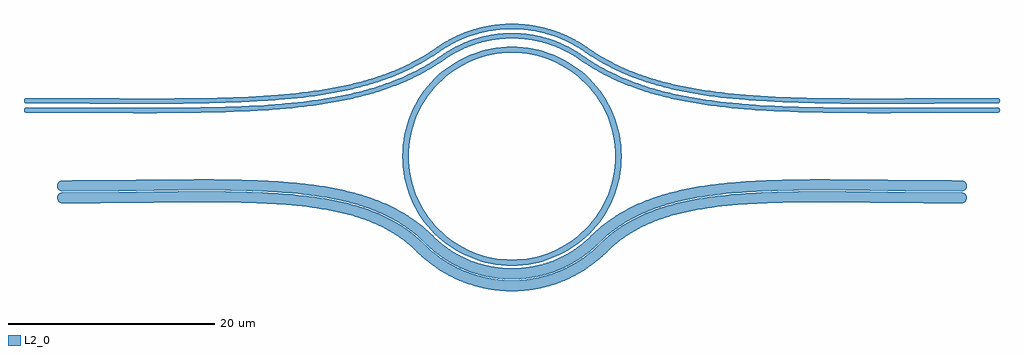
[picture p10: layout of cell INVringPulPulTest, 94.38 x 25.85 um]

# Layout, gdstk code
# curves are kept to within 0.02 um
import gdstk
lib = gdstk.Library(unit=1e-6, precision=1e-09)
def P(c, l, *ps):  # polygons
    for p in ps: c.add(gdstk.Polygon(p, *l))
L2_0 = (2, 0)

invringpulpultest = lib.new_cell('INVringPulPulTest')
P(invringpulpultest, L2_0, [(10,-30.6),(8.961,-30.549),(7.932,-30.396),(6.923,-30.144),(5.944,-29.793),(5.003,-29.348),(4.111,-28.814),(3.275,-28.194),(2.505,-27.495),(1.806,-26.725),(1.186,-25.889),(0.652,-24.997),(0.207,-24.056),(-0.144,-23.077),(-0.396,-22.068),(-0.549,-21.039),(-0.6,-20),(-0.549,-18.961),(-0.396,-17.932),(-0.144,-16.923),(0.207,-15.944),(0.652,-15.003),(1.186,-14.111),(1.806,-13.275),(2.505,-12.505),(3.275,-11.806),(4.111,-11.186),(5.003,-10.652),(5.944,-10.207),(6.923,-9.856),(7.932,-9.604),(8.961,-9.451),(10,-9.4),(11.039,-9.451),(12.068,-9.604),(13.077,-9.856),(14.056,-10.207),(14.997,-10.652),(15.889,-11.186),(16.725,-11.806),(17.495,-12.505),(18.194,-13.275),(18.814,-14.111),(19.348,-15.003),(19.793,-15.944),(20.144,-16.923),(20.396,-17.932),(20.549,-18.961),(20.6,-20),(20,-20),(19.988,-19.509),(19.892,-18.533),(19.808,-18.049),(19.569,-17.097),(19.239,-16.173),(19.04,-15.724),(18.577,-14.859),(18.032,-14.043),(17.41,-13.284),(16.716,-12.59),(16.344,-12.27),(15.556,-11.685),(15.141,-11.423),(14.276,-10.96),(13.827,-10.761),(12.903,-10.431),(12.43,-10.3),(11.951,-10.192),(10.98,-10.048),(10.491,-10.012),(9.509,-10.012),(8.533,-10.108),(8.049,-10.192),(7.097,-10.431),(6.631,-10.585),(6.173,-10.761),(5.286,-11.181),(4.444,-11.685),(4.043,-11.968),(3.284,-12.59),(2.929,-12.929),(2.59,-13.284),(1.968,-14.043),(1.423,-14.859),(0.96,-15.724),(0.761,-16.173),(0.431,-17.097),(0.192,-18.049),(0.108,-18.533),(0.012,-19.509),(0.012,-20.491),(0.048,-20.98),(0.192,-21.951),(0.431,-22.903),(0.761,-23.827),(0.96,-24.276),(1.181,-24.714),(1.685,-25.556),(2.27,-26.344),(2.59,-26.716),(3.284,-27.41),(4.043,-28.032),(4.444,-28.315),(5.286,-28.819),(6.173,-29.239),(7.097,-29.569),(7.57,-29.7),(8.533,-29.892),(9.509,-29.988),(10.491,-29.988),(10.98,-29.952),(11.951,-29.808),(12.903,-29.569),(13.369,-29.415),(14.276,-29.04),(14.714,-28.819),(15.556,-28.315),(15.957,-28.032),(16.716,-27.41),(17.41,-26.716),(18.032,-25.957),(18.577,-25.141),(19.04,-24.276),(19.239,-23.827),(19.569,-22.903),(19.7,-22.43),(19.892,-21.467),(19.952,-20.98),(20,-20),(20.6,-20),(20.549,-21.039),(20.396,-22.068),(20.144,-23.077),(19.793,-24.056),(19.348,-24.997),(18.814,-25.889),(18.194,-26.725),(17.495,-27.495),(16.725,-28.194),(15.889,-28.814),(14.997,-29.348),(14.056,-29.793),(13.077,-30.144),(12.068,-30.396),(11.039,-30.549)],
  [(-25.275,-15.823),(-36.94,-15.788),(-36.94,-15.288),(-24.368,-15.323),(-20.926,-15.299),(-17.696,-15.231),(-14.666,-15.102),(-12.52,-14.955),(-10.152,-14.721),(-8.187,-14.451),(-6.318,-14.113),(-4.539,-13.701),(-2.846,-13.206),(-1.46,-12.712),(-0.131,-12.147),(0.935,-11.619),(2.168,-10.915),(3.583,-9.978),(4.268,-9.571),(5.083,-9.163),(6.034,-8.78),(6.959,-8.495),(7.96,-8.276),(8.919,-8.149),(9.943,-8.1),(10.967,-8.139),(11.928,-8.257),(13.041,-8.495),(13.966,-8.78),(14.917,-9.163),(15.732,-9.571),(16.417,-9.978),(17.832,-10.915),(19.065,-11.619),(20.131,-12.147),(21.46,-12.712),(22.846,-13.206),(24.539,-13.701),(26.318,-14.113),(28.187,-14.451),(30.152,-14.721),(32.52,-14.955),(34.666,-15.102),(37.696,-15.231),(40.926,-15.299),(44.368,-15.323),(56.94,-15.288),(56.94,-15.788),(46.621,-15.822),(41.764,-15.808),(37.677,-15.731),(34.635,-15.601),(31.262,-15.344),(28.644,-15.026),(26.72,-14.702),(25.144,-14.365),(23.633,-13.97),(22.185,-13.51),(20.569,-12.888),(19.03,-12.165),(17.768,-11.461),(15.634,-10.089),(15.007,-9.758),(14.259,-9.425),(13.176,-9.051),(12.169,-8.808),(11.09,-8.652),(9.945,-8.6),(9.019,-8.642),(7.992,-8.778),(6.981,-9.007),(6.046,-9.308),(5.339,-9.596),(4.605,-9.957),(3.991,-10.312),(2.845,-11.078),(1.817,-11.705),(0.755,-12.275),(-0.569,-12.888),(-1.715,-13.342),(-3.143,-13.824),(-4.633,-14.24),(-6.187,-14.596),(-7.808,-14.896),(-9.787,-15.18),(-11.866,-15.401),(-13.905,-15.557),(-16.131,-15.674),(-18.468,-15.753),(-21.764,-15.808)],
  [(-25.252,-14.924),(-36.94,-14.888),(-36.94,-14.388),(-23.478,-14.421),(-17.73,-14.332),(-14.723,-14.204),(-12.593,-14.058),(-10.281,-13.83),(-8.365,-13.569),(-6.544,-13.243),(-4.813,-12.844),(-3.168,-12.366),(-1.602,-11.801),(-0.321,-11.243),(0.908,-10.611),(1.893,-10.025),(3.253,-9.122),(3.997,-8.695),(4.879,-8.269),(5.676,-7.952),(6.669,-7.641),(7.745,-7.4),(8.899,-7.247),(9.939,-7.2),(11.04,-7.242),(12.013,-7.359),(13.093,-7.579),(14.035,-7.852),(14.952,-8.197),(15.895,-8.638),(16.747,-9.122),(18.107,-10.025),(19.092,-10.611),(20.321,-11.243),(21.821,-11.888),(23.398,-12.44),(25.055,-12.906),(26.799,-13.294),(28.633,-13.61),(30.847,-13.894),(32.941,-14.086),(35.457,-14.243),(38.513,-14.354),(44.352,-14.423),(56.94,-14.388),(56.94,-14.888),(41.768,-14.909),(37.711,-14.832),(34.692,-14.703),(31.363,-14.45),(28.809,-14.141),(26.933,-13.828),(24.901,-13.382),(23.216,-12.906),(21.613,-12.343),(20.301,-11.785),(19.248,-11.264),(18.032,-10.568),(16.682,-9.673),(15.976,-9.249),(15.029,-8.775),(14.1,-8.403),(13.03,-8.079),(11.993,-7.862),(10.941,-7.736),(9.941,-7.7),(8.824,-7.756),(7.833,-7.892),(6.743,-8.139),(5.734,-8.463),(4.918,-8.799),(4.127,-9.192),(3.517,-9.547),(2.166,-10.444),(1.366,-10.926),(0.335,-11.479),(-0.732,-11.979),(-2.063,-12.513),(-3.452,-12.979),(-4.901,-13.382),(-6.414,-13.725),(-8.263,-14.058),(-10.208,-14.325),(-11.953,-14.505),(-13.967,-14.659),(-16.177,-14.776),(-18.497,-14.854),(-21.768,-14.909)],
  [(56.94,-14.888),(56.94,-14.388),(57.038,-14.408),(57.117,-14.461),(57.171,-14.541),(57.19,-14.638),(57.171,-14.736),(57.117,-14.815),(57.038,-14.869)],
  [(-36.94,-14.888),(-37.038,-14.869),(-37.117,-14.815),(-37.171,-14.736),(-37.19,-14.638),(-37.171,-14.541),(-37.117,-14.461),(-37.038,-14.408),(-36.94,-14.388)],
  [(56.94,-15.788),(56.94,-15.288),(57.038,-15.308),(57.117,-15.361),(57.171,-15.441),(57.19,-15.538),(57.171,-15.636),(57.117,-15.715),(57.038,-15.769)],
  [(-36.94,-15.788),(-37.038,-15.769),(-37.117,-15.715),(-37.171,-15.636),(-37.19,-15.538),(-37.171,-15.441),(-37.117,-15.361),(-37.038,-15.308),(-36.94,-15.288)],
  [(53.45,-24.55),(53.45,-23.5),(53.654,-23.541),(53.821,-23.654),(53.934,-23.821),(53.975,-24.025),(53.934,-24.229),(53.821,-24.396),(53.654,-24.509)],
  [(10,-33.05),(8.638,-32.979),(7.291,-32.766),(6.05,-32.438),(5.293,-32.172),(4.627,-31.893),(3.485,-31.307),(2.406,-30.613),(1.46,-29.868),(0.351,-28.826),(-0.387,-28.207),(-1.169,-27.65),(-1.996,-27.15),(-3.231,-26.541),(-4.361,-26.098),(-5.56,-25.721),(-7.046,-25.358),(-8.86,-25.034),(-10.802,-24.795),(-13.227,-24.605),(-15.692,-24.5),(-20.713,-24.448),(-33.45,-24.55),(-33.654,-24.509),(-33.855,-24.359),(-33.964,-24.131),(-33.964,-23.919),(-33.912,-23.775),(-33.784,-23.62),(-33.654,-23.541),(-33.45,-23.5),(-33.45,-24.55),(-33.45,-23.5),(-21.477,-23.402),(-18.29,-23.404),(-15.135,-23.468),(-12.203,-23.62),(-9.892,-23.839),(-7.669,-24.17),(-6.052,-24.512),(-4.532,-24.939),(-3.108,-25.458),(-1.777,-26.078),(-0.711,-26.697),(0.287,-27.402),(1.068,-28.059),(2.092,-29.026),(3.077,-29.802),(4.138,-30.471),(5.194,-30.996),(6.298,-31.415),(7.581,-31.754),(8.821,-31.942),(10.074,-32),(11.326,-31.927),(12.491,-31.739),(13.702,-31.415),(14.94,-30.936),(15.991,-30.398),(16.923,-29.802),(17.908,-29.026),(18.932,-28.059),(19.713,-27.402),(20.711,-26.697),(21.595,-26.176),(22.912,-25.54),(24.115,-25.077),(25.608,-24.625),(27.197,-24.259),(29.133,-23.936),(31.198,-23.702),(33.156,-23.558),(35.645,-23.452),(38.29,-23.404),(40.709,-23.399),(53.45,-23.5),(53.45,-24.55),(40.713,-24.448),(37.774,-24.459),(35.187,-24.516),(32.752,-24.634),(30.802,-24.795),(28.86,-25.034),(26.828,-25.405),(25.356,-25.779),(24.168,-26.167),(23.049,-26.622),(21.827,-27.245),(21.009,-27.757),(20.236,-28.326),(19.649,-28.826),(18.54,-29.868),(17.594,-30.613),(16.515,-31.307),(15.373,-31.893),(14.707,-32.172),(13.95,-32.438),(12.709,-32.766),(11.362,-32.979)],
  [(53.45,-23.4),(53.45,-22.35),(53.654,-22.391),(53.821,-22.504),(53.934,-22.671),(53.975,-22.875),(53.934,-23.079),(53.821,-23.246),(53.654,-23.359)],
  [(10,-31.9),(8.758,-31.835),(7.53,-31.641),(6.329,-31.32),(5.101,-30.845),(4.059,-30.311),(3.075,-29.678),(2.268,-29.046),(1.122,-27.973),(0.337,-27.314),(-0.494,-26.719),(-1.553,-26.085),(-2.876,-25.447),(-4.084,-24.983),(-5.362,-24.588),(-6.943,-24.21),(-8.868,-23.873),(-10.659,-23.654),(-13.149,-23.458),(-15.641,-23.352),(-20.708,-23.299),(-33.45,-23.4),(-33.654,-23.359),(-33.855,-23.209),(-33.964,-22.981),(-33.964,-22.769),(-33.912,-22.625),(-33.784,-22.47),(-33.654,-22.391),(-33.45,-22.35),(-33.45,-23.4),(-33.45,-22.35),(-21.475,-22.253),(-17.72,-22.261),(-14.569,-22.338),(-12.114,-22.473),(-9.713,-22.703),(-7.381,-23.057),(-5.682,-23.424),(-4.081,-23.882),(-2.579,-24.438),(-1.173,-25.101),(-0.045,-25.76),(1.012,-26.51),(1.841,-27.207),(2.85,-28.161),(3.686,-28.824),(4.583,-29.401),(5.533,-29.888),(6.653,-30.321),(7.748,-30.614),(8.934,-30.798),(10.067,-30.85),(11.199,-30.784),(12.317,-30.6),(13.411,-30.3),(14.467,-29.888),(15.417,-29.401),(16.314,-28.824),(17.15,-28.161),(18.159,-27.207),(18.988,-26.51),(20.045,-25.76),(21.173,-25.101),(22.372,-24.526),(23.861,-23.955),(25.447,-23.484),(27.132,-23.104),(28.917,-22.807),(30.803,-22.584),(33.078,-22.41),(35.594,-22.303),(40.705,-22.25),(53.45,-22.35),(53.45,-23.4),(40.708,-23.299),(37.746,-23.31),(35.13,-23.368),(32.195,-23.52),(30.137,-23.71),(28.375,-23.948),(26.481,-24.309),(24.928,-24.713),(23.673,-25.13),(22.488,-25.619),(21.372,-26.185),(20.494,-26.719),(19.663,-27.314),(18.878,-27.973),(17.732,-29.046),(17.044,-29.592),(16.13,-30.2),(15.032,-30.784),(13.81,-31.274),(12.613,-31.61),(11.315,-31.827)])

lib.write_gds('INVringPulPulTest.gds')
